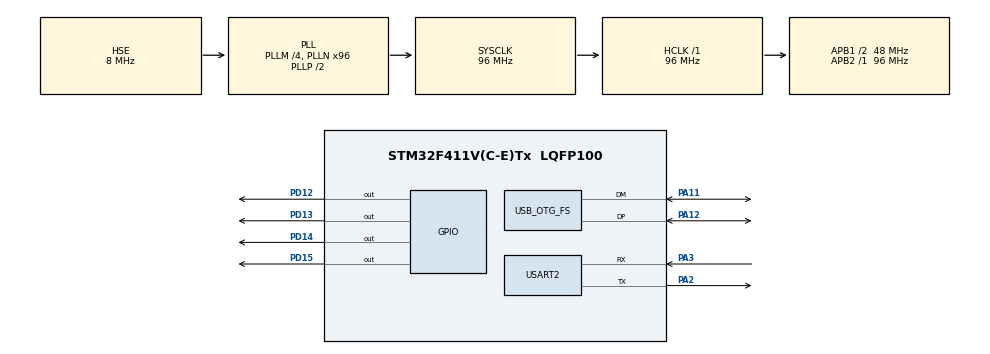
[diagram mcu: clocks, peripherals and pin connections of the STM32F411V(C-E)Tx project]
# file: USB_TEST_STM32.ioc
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FREERTOS.Tasks01=defaultTask,24,128,StartDefaultTask,Default,NULL,Dynamic,NULL,NULL
Mcu.Family=STM32F4
Mcu.Name=STM32F411V(C-E)Tx
Mcu.Package=LQFP100
NVIC.OTG_FS_IRQn=true\:5\:0\:false\:false\:true\:true\:false\:true\:true
NVIC.PriorityGroup=NVIC_PRIORITYGROUP_4
NVIC.TIM2_IRQn=true\:15\:0\:false\:false\:true\:false\:false\:true\:true
NVIC.TimeBase=TIM2_IRQn
NVIC.TimeBaseIP=TIM2
PA11.Mode=Device_Only
PA11.Signal=USB_OTG_FS_DM
PA12.Mode=Device_Only
PA12.Signal=USB_OTG_FS_DP
PA2.Mode=Asynchronous
PA2.Signal=USART2_TX
PA3.Mode=Asynchronous
PA3.Signal=USART2_RX
PD12.Signal=GPIO_Output
PD13.Signal=GPIO_Output
PD14.Signal=GPIO_Output
PD15.Signal=GPIO_Output
PH0\ -\ OSC_IN.Mode=HSE-External-Oscillator
PH0\ -\ OSC_IN.Signal=RCC_OSC_IN
PH1\ -\ OSC_OUT.Mode=HSE-External-Oscillator
PH1\ -\ OSC_OUT.Signal=RCC_OSC_OUT
ProjectManager.HeapSize=0x200
ProjectManager.StackSize=0x400
ProjectManager.TargetToolchain=CMake
RCC.48MHZClocksFreq_Value=48000000
RCC.AHBFreq_Value=96000000
RCC.APB1CLKDivider=RCC_HCLK_DIV2
RCC.APB1Freq_Value=48000000
RCC.APB1TimFreq_Value=96000000
RCC.APB2Freq_Value=96000000
RCC.APB2TimFreq_Value=96000000
RCC.CortexFreq_Value=96000000
RCC.HCLKFreq_Value=96000000
RCC.HSE_VALUE=8000000
RCC.HSI_VALUE=16000000
RCC.LSE_VALUE=32768
RCC.PLLM=4
RCC.PLLN=96
RCC.SYSCLKFreq_VALUE=96000000
RCC.SYSCLKSource=RCC_SYSCLKSOURCE_PLLCLK
RCC.VCOOutputFreq_Value=192000000
USART2.VirtualMode=VM_ASYNC
USB_DEVICE.CLASS_NAME_FS=CDC
USB_DEVICE.VirtualMode=Cdc
USB_DEVICE.VirtualModeFS=Cdc_FS
USB_OTG_FS.VirtualMode=Device_Only
VP_FREERTOS_VS_CMSIS_V2.Mode=CMSIS_V2
VP_SYS_VS_tim2.Mode=TIM2
VP_USB_DEVICE_VS_USB_DEVICE_CDC_FS.Mode=CDC_FS
board=custom

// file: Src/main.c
/* USER CODE BEGIN Header */
/**
  ******************************************************************************
  * @file           : main.c
  * @brief          : Main program body
  ******************************************************************************
  * @attention
  *
  * Copyright (c) 2025 STMicroelectronics.
  * All rights reserved.
  *
  * This software is licensed under terms that can be found in the LICENSE file
  * in the root directory of this software component.
  * If no LICENSE file comes with this software, it is provided AS-IS.
  *
  ******************************************************************************
  */
/* USER CODE END Header */
#include "main.h"
#include "cmsis_os.h"
#include "usb_device.h"

/* USER CODE BEGIN Includes */
#include "usbd_cdc_if.h"
#include "usbd_cdc.h"
/* USER CODE END Includes */

/* USER CODE BEGIN PD */

#define USB_RX_BUF_SIZE  128
static uint8_t usb_rx_buf[USB_RX_BUF_SIZE];
static volatile uint32_t usb_rx_len = 0;

/* USER CODE END PD */

UART_HandleTypeDef huart2;

/* Definitions for defaultTask */
osThreadId_t defaultTaskHandle;
const osThreadAttr_t defaultTask_attributes = {
  .name = "defaultTask",
  .stack_size = 128 * 4,
  .priority = (osPriority_t) osPriorityNormal,
};
/* USER CODE BEGIN PV */

osThreadId_t usbToUartHandle;
const osThreadAttr_t usbToUartTask_attributes = {
  .name = "UsbToUartTask",
  .priority = (osPriority_t) osPriorityNormal,
  .stack_size = 256 * 4
};

/* USER CODE END PV */

void SystemClock_Config(void);
static void MX_GPIO_Init(void);
static void MX_USART2_UART_Init(void);
void StartDefaultTask(void *argument);
void UsbToUart_Task(void *argument);

/* USER CODE BEGIN 0 */

/* This function is called by USB CDC core when host sends data to device */
uint8_t CDC_Receive_FS(uint8_t* Buf, uint32_t Len)
{
    HAL_GPIO_TogglePin(GPIOD, GPIO_PIN_14); // Indicate activity
    if(Len > USB_RX_BUF_SIZE) Len = USB_RX_BUF_SIZE; // Prevent overflow
    memcpy(usb_rx_buf, Buf, Len);
    usb_rx_len = Len;
    USBD_CDC_ReceivePacket(&hUsbDeviceFS); // Ready for next packet from host
    return USBD_OK;
}
/* USER CODE END 0 */

int main(void)
{

  /* MCU Configuration--------------------------------------------------------*/

  /* Reset of all peripherals, Initializes the Flash interface and the Systick. */
  HAL_Init();

  /* Configure the system clock */
  SystemClock_Config();

  /* Initialize all configured peripherals */
  MX_GPIO_Init();
  MX_USART2_UART_Init();

  /* Init scheduler */
  osKernelInitialize();

  /* Create the thread(s) */
  /* creation of defaultTask */
  defaultTaskHandle = osThreadNew(StartDefaultTask, NULL, &defaultTask_attributes);

  /* USER CODE BEGIN RTOS_THREADS */
/* add threads, ... */
  usbToUartHandle = osThreadNew(UsbToUart_Task, NULL, &usbToUartTask_attributes);
  /* USER CODE END RTOS_THREADS */

  /* Start scheduler */
  osKernelStart();

  /* We should never get here as control is now taken by the scheduler */

  /* Infinite loop */
while (1)
{

}
}

void SystemClock_Config(void)
{
  RCC_OscInitTypeDef RCC_OscInitStruct = {0};
  RCC_ClkInitTypeDef RCC_ClkInitStruct = {0};

  /** Configure the main internal regulator output voltage
  */
  __HAL_RCC_PWR_CLK_ENABLE();
  __HAL_PWR_VOLTAGESCALING_CONFIG(PWR_REGULATOR_VOLTAGE_SCALE1);

  /** Initializes the RCC Oscillators according to the specified parameters
  * in the RCC_OscInitTypeDef structure.
  */
  RCC_OscInitStruct.OscillatorType = RCC_OSCILLATORTYPE_HSE;
  RCC_OscInitStruct.HSEState = RCC_HSE_ON;
  RCC_OscInitStruct.PLL.PLLState = RCC_PLL_ON;
  RCC_OscInitStruct.PLL.PLLSource = RCC_PLLSOURCE_HSE;
  RCC_OscInitStruct.PLL.PLLM = 4;
  RCC_OscInitStruct.PLL.PLLN = 96;
  RCC_OscInitStruct.PLL.PLLP = RCC_PLLP_DIV2;
  RCC_OscInitStruct.PLL.PLLQ = 4;
  if (HAL_RCC_OscConfig(&RCC_OscInitStruct) != HAL_OK)
  {
    Error_Handler();
  }

  /** Initializes the CPU, AHB and APB buses clocks
  */
  RCC_ClkInitStruct.ClockType = RCC_CLOCKTYPE_HCLK|RCC_CLOCKTYPE_SYSCLK
                              |RCC_CLOCKTYPE_PCLK1|RCC_CLOCKTYPE_PCLK2;
  RCC_ClkInitStruct.SYSCLKSource = RCC_SYSCLKSOURCE_PLLCLK;
  RCC_ClkInitStruct.AHBCLKDivider = RCC_SYSCLK_DIV1;
  RCC_ClkInitStruct.APB1CLKDivider = RCC_HCLK_DIV2;
  RCC_ClkInitStruct.APB2CLKDivider = RCC_HCLK_DIV1;

  if (HAL_RCC_ClockConfig(&RCC_ClkInitStruct, FLASH_LATENCY_3) != HAL_OK)
  {
    Error_Handler();
  }
}

static void MX_USART2_UART_Init(void)
{

  huart2.Instance = USART2;
  huart2.Init.BaudRate = 115200;
  huart2.Init.WordLength = UART_WORDLENGTH_8B;
  huart2.Init.StopBits = UART_STOPBITS_1;
  huart2.Init.Parity = UART_PARITY_NONE;
  huart2.Init.Mode = UART_MODE_TX_RX;
  huart2.Init.HwFlowCtl = UART_HWCONTROL_NONE;
  huart2.Init.OverSampling = UART_OVERSAMPLING_16;
  if (HAL_UART_Init(&huart2) != HAL_OK)
  {
    Error_Handler();
  }

}

static void MX_GPIO_Init(void)
{
  GPIO_InitTypeDef GPIO_InitStruct = {0};

  /* GPIO Ports Clock Enable */
  __HAL_RCC_GPIOH_CLK_ENABLE();
  __HAL_RCC_GPIOA_CLK_ENABLE();
  __HAL_RCC_GPIOD_CLK_ENABLE();

  /*Configure GPIO pin Output Level */
  HAL_GPIO_WritePin(GPIOD, GPIO_PIN_12|GPIO_PIN_13|GPIO_PIN_14|GPIO_PIN_15, GPIO_PIN_RESET);

  /*Configure GPIO pins : PD12 PD13 PD14 PD15 */
  GPIO_InitStruct.Pin = GPIO_PIN_12|GPIO_PIN_13|GPIO_PIN_14|GPIO_PIN_15;
  GPIO_InitStruct.Mode = GPIO_MODE_OUTPUT_PP;
  GPIO_InitStruct.Pull = GPIO_NOPULL;
  GPIO_InitStruct.Speed = GPIO_SPEED_FREQ_LOW;
  HAL_GPIO_Init(GPIOD, &GPIO_InitStruct);

}

/* USER CODE BEGIN 4 */
/* FreeRTOS task: check for USB data, then print over UART */
void UsbToUart_Task(void *argument)
{
    for(;;) {
        if (usb_rx_len > 0) {
            // Transmit received USB data buffer through UART
            HAL_UART_Transmit(&huart2, usb_rx_buf, usb_rx_len, HAL_MAX_DELAY);
            HAL_GPIO_TogglePin(GPIOD, GPIO_PIN_13); // Indicate activity
            // (Optional: Debug print using hex or ASCII format)
            // char dbg[16];
            // for (int i=0; i<usb_rx_len; ++i) {
            //     int n = sprintf(dbg, "%02X ", usb_rx_buf[i]);
            //     HAL_UART_Transmit(&huart1, (uint8_t*)dbg, n, 10);
            // }

            usb_rx_len = 0; // Mark buffer as consumed
        }
        osDelay(1); // yield to other RTOS tasks, adjustable
    }
}
/* USER CODE END 4 */

void StartDefaultTask(void *argument)
{
  /* init code for USB_DEVICE */
  MX_USB_DEVICE_Init();
  /* USER CODE BEGIN 5 */
  /* Infinite loop */
  for(;;)
  {
    HAL_GPIO_TogglePin(GPIOD, GPIO_PIN_12);
    osDelay(100);
  }
  /* USER CODE END 5 */
}

void HAL_TIM_PeriodElapsedCallback(TIM_HandleTypeDef *htim)
{
  if (htim->Instance == TIM2)
  {
    HAL_IncTick();
  }
}

void Error_Handler(void)
{
  __disable_irq();
  while (1)
  {
  }
}
